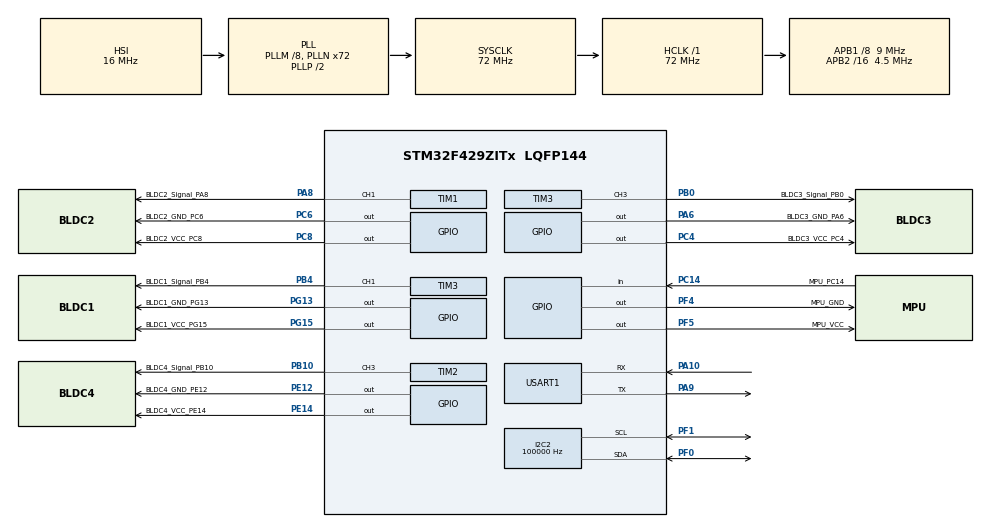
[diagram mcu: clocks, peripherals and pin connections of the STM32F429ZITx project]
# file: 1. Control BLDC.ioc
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Mcu.Family=STM32F4
RCC.CortexFreq_Value=72000000
TIM1.RepetitionCounter=0
PC6.GPIO_Label=BLDC2_GND_PC6
PA6.GPIO_Label=BLDC3_GND_PA6
PB0.GPIO_Label=BLDC3_Signal_PB0
PG13.Signal=GPIO_Output
PG15.Signal=GPIO_Output
RCC.SYSCLKSource=RCC_SYSCLKSOURCE_PLLCLK
ProjectManager.StackSize=0x400
TIM1.Prescaler=180-1
PG15.GPIO_Label=BLDC1_VCC_PG15
RCC.HCLKFreq_Value=72000000
RCC.APB2TimFreq_Value=9000000
TIM3.Period=1000-1
RCC.AHBFreq_Value=72000000
TIM3.Channel-PWM\ Generation1\ CH1=TIM_CHANNEL_1
RCC.HSE_VALUE=8000000
PC4.GPIO_Label=BLDC3_VCC_PC4
TIM1.Channel-PWM\ Generation1\ CH1=TIM_CHANNEL_1
PA14.Mode=Serial_Wire
TIM3.Prescaler=180-1
PA8.Signal=S_TIM1_CH1
SH.S_TIM3_CH1.0=TIM3_CH1,PWM Generation1 CH1
VP_FREERTOS_VS_CMSIS_V1.Mode=CMSIS_V1
Mcu.Package=LQFP144
TIM2.Prescaler=180-1
PA6.Signal=GPIO_Output
NVIC.TimeBase=TIM7_IRQn
PC14/OSC32_IN.Signal=GPIO_Input
PF5.GPIO_Label=MPU_VCC
NVIC.TimeBaseIP=TIM7
PA10.Signal=USART1_RX
FREERTOS.INCLUDE_vTaskDelayUntil=1
PE12.GPIO_Label=BLDC4_GND_PE12
RCC.PLLSAIN=50
PF5.Signal=GPIO_Output
RCC.APB2CLKDivider=RCC_HCLK_DIV16
RCC.APB1TimFreq_Value=18000000
PC14/OSC32_IN.GPIO_Label=MPU_PC14
PF0.Signal=I2C2_SDA
TIM1.Period=1000-1
NVIC.USART1_IRQn=true\:5\:0\:true\:false\:true\:true\:true\:true
I2C2.I2C_Mode=I2C_Standard
NVIC.TIM7_IRQn=true\:0\:0\:false\:false\:true\:false\:false\:true
PB4.Signal=S_TIM3_CH1
FREERTOS.Tasks01=systemTask,0,128,StartsytemTask,Default,NULL,Dynamic,NULL,NULL;BLDCTask,2,512,StartBLDCTask,Default,NULL,Dynamic,NULL,NULL;UARTTask,0,768,StartUARTTask,Default,NULL,Dynamic,NULL,NULL
PA10.Mode=Asynchronous
VP_SYS_VS_tim7.Mode=TIM7
PC8.Signal=GPIO_Output
PC4.Signal=GPIO_Output
PC6.Signal=GPIO_Output
PE14.GPIO_Label=BLDC4_VCC_PE14
RCC.APB1CLKDivider=RCC_HCLK_DIV8
SH.S_TIM3_CH3.0=TIM3_CH3,PWM Generation3 CH3
PG13.GPIO_Label=BLDC1_GND_PG13
PC8.GPIO_Label=BLDC2_VCC_PC8
PA13.Signal=SYS_JTMS-SWDIO
TIM3.Channel-PWM\ Generation3\ CH3=TIM_CHANNEL_3
PF1.Mode=I2C
PA9.Mode=Asynchronous
PA8.GPIO_Label=BLDC2_Signal_PA8
SH.S_TIM1_CH1.0=TIM1_CH1,PWM Generation1 CH1
ProjectManager.TargetToolchain=STM32CubeIDE
PB10.GPIO_Label=BLDC4_Signal_PB10
PA9.Signal=USART1_TX
RCC.LSE_VALUE=32768
PB10.Signal=S_TIM2_CH3
board=STM32F429I-DISC1
RCC.VCOOutputFreq_Value=144000000
RCC.APB2Freq_Value=4500000
PE14.Signal=GPIO_Output
PB4.GPIO_Label=BLDC1_Signal_PB4
SH.S_TIM2_CH3.0=TIM2_CH3,PWM Generation3 CH3
PF4.GPIO_Label=MPU_GND
I2C2.ClockSpeed=100000
TIM2.Channel-PWM\ Generation3\ CH3=TIM_CHANNEL_3
TIM2.Period=1000-1
PF1.Signal=I2C2_SCL
PA13.Mode=Serial_Wire
Mcu.Name=STM32F429ZITx
PE12.Signal=GPIO_Output
RCC.48MHZClocksFreq_Value=48000000
RCC.SYSCLKFreq_VALUE=72000000
USART1.VirtualMode=VM_ASYNC
PA14.Signal=SYS_JTCK-SWCLK
ProjectManager.HeapSize=0x200
PF0.Mode=I2C
RCC.HSI_VALUE=16000000
FREERTOS.Mutexes01=mutex_uart,Dynamic,NULL;mutex_malloc,Dynamic,NULL;mutex_i2c2,Dynamic,NULL
RCC.PLLQ=3
NVIC.PriorityGroup=NVIC_PRIORITYGROUP_4
RCC.PLLM=8
RCC.PLLN=72
PF4.Signal=GPIO_Output
RCC.APB1Freq_Value=9000000
PB0.Signal=S_TIM3_CH3

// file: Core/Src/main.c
/* USER CODE BEGIN Header */
/**
  ******************************************************************************
  * @file           : main.c
  * @brief          : Main program body
  ******************************************************************************
  * @attention
  *
  * <h2><center>&copy; Copyright (c) 2025 STMicroelectronics.
  * All rights reserved.</center></h2>
  *
  * This software component is licensed by ST under Ultimate Liberty license
  * SLA0044, the "License"; You may not use this file except in compliance with
  * the License. You may obtain a copy of the License at:
  *                             www.st.com/SLA0044
  *
  ******************************************************************************
  */
/*
 * ===========================================================================
 * OVERVIEW (main.c)
 * ===========================================================================
 *  Generated by STM32CubeMX: only the text between "USER CODE BEGIN" and
 *  "USER CODE END" survives a regeneration, so all project code lives there.
 *
 *  Boot order:
 *    HAL_Init -> SystemClock_Config (72 MHz from HSI; the GAMEPAD build then
 *    moves the PLL to the 8 MHz HSE for USB) -> MX_*_Init (GPIO, TIM1/2/3 for
 *    the ESCs, USART1 terminal, I2C2 for the MPU6050) -> mutexes -> tasks
 *    created -> Sys_Init() (runs before the scheduler, blocks ~3 s for the
 *    ESC arming pulse) -> osKernelStart().
 *
 *  FreeRTOS tasks:
 *    BLDCTask   (High)        : Sys_FlightTask(), 250 Hz flight loop
 *    usbTask    (AboveNormal) : GAMEPAD build only, USB host for the pad
 *    UARTTask   (Normal)      : terminal commands + telemetry every 50 ms
 *    systemTask (Normal)      : status LED (PG14) every 100 ms
 *    uiTask     (BelowNormal) : LCD screen, 10 Hz (if UI_LCD_ENABLE)
 *  Higher priority always runs first, so the flight loop is never delayed by
 *  printing or drawing.
 */
/* USER CODE END Header */
#include "main.h"
#include "cmsis_os.h"

I2C_HandleTypeDef hi2c2;

TIM_HandleTypeDef htim1;
TIM_HandleTypeDef htim2;
TIM_HandleTypeDef htim3;

UART_HandleTypeDef huart1;

osThreadId systemTaskHandle;
osThreadId BLDCTaskHandle;
osThreadId UARTTaskHandle;
osMutexId mutex_uartHandle;
osMutexId mutex_mallocHandle;
osMutexId mutex_i2c2Handle;
/* USER CODE BEGIN PV */
/* Table of UART handles / mutexes indexed by port number, used by the UART
 * driver (USER_UART_Driver) so it does not depend on CubeMX variable names. */
UART_HandleTypeDef *puartHandle[5];

osMutexId mutex_uart_user[5];
osMutexId mutex_malloc_user;
osMutexId mutex_i2c2_user;
/*User variable*/
/* bRTOS_En : true once the tasks exist -> printing may use the mutexes.
 * bPrintfEn: false = RTOSprintf prints nothing (before UART is ready). */
bool bRTOS_En = false;
bool bPrintfEn = false;

/* USER CODE END PV */

void SystemClock_Config(void);
static void MX_GPIO_Init(void);
static void MX_TIM1_Init(void);
static void MX_TIM2_Init(void);
static void MX_TIM3_Init(void);
static void MX_USART1_UART_Init(void);
static void MX_I2C2_Init(void);
void StartsytemTask(void const * argument);
void StartBLDCTask(void const * argument);
void StartUARTTask(void const * argument);

/* USER CODE BEGIN PFP */
/* Old printf retarget prototype (the function itself is commented out in
 * USER CODE 4; _write() is used instead). */
#ifdef __GNUC__
#define PUTCHAR_PROTOTYPE int __io_putchar(int ch)
#else
#define PUTCHAR_PROTOTYPE int fputc(int ch, FILE *f)
#endif /* __GNUC__ */
/* USER CODE END PFP */

int main(void)
{

  /* MCU Configuration--------------------------------------------------------*/

  /* Reset of all peripherals, Initializes the Flash interface and the Systick. */
  HAL_Init();

  /* Configure the system clock */
  SystemClock_Config();

  /* USER CODE BEGIN SysInit */
#if (FC_VARIANT == FC_VARIANT_GAMEPAD)
  /* USB host needs an accurate 48 MHz clock: move the PLL to HSE (8 MHz).
   * Bus clocks stay identical (72 MHz, APB1 /8, APB2 /16). */
  (void)Gamepad_ClockInit();
#endif

  /* USER CODE END SysInit */

  /* Initialize all configured peripherals */
  MX_GPIO_Init();
  MX_TIM1_Init();
  MX_TIM2_Init();
  MX_TIM3_Init();
  MX_USART1_UART_Init();
  MX_I2C2_Init();
  /* USER CODE BEGIN 2 */
  /* MX_GPIO_Init() made the old ESC "VCC" pins outputs LOW; release them at
   * once (high impedance) so an ESC +5 V wire cannot be shorted / back-fed. */
  Motor_ReleaseVccPins();

  /* Register USART1 (terminal, PA9/PA10, 115200) as port 1 for the driver */
  puartHandle[UART_PORT1] = &huart1;
  /* USER CODE END 2 */

  /* Create the mutex(es) */
  /* definition and creation of mutex_uart */
  osMutexDef(mutex_uart);
  mutex_uartHandle = osMutexCreate(osMutex(mutex_uart));

  /* definition and creation of mutex_malloc */
  osMutexDef(mutex_malloc);
  mutex_mallocHandle = osMutexCreate(osMutex(mutex_malloc));

  /* definition and creation of mutex_i2c2 */
  osMutexDef(mutex_i2c2);
  mutex_i2c2Handle = osMutexCreate(osMutex(mutex_i2c2));

  /* USER CODE BEGIN RTOS_MUTEX */
  /* add mutexes, ... */
  /* Copy the CubeMX mutex handles to the names the user drivers use:
   * UART (several tasks print), malloc, I2C2 (MPU6050 bus) */
  mutex_uart_user[SET_COMPORT_DEF] = mutex_uartHandle;
  mutex_malloc_user = mutex_mallocHandle;
  mutex_i2c2_user = mutex_i2c2Handle;
  /* USER CODE END RTOS_MUTEX */

  /* Create the thread(s) */
  /* definition and creation of systemTask */
  osThreadDef(systemTask, StartsytemTask, osPriorityNormal, 0, 128);
  systemTaskHandle = osThreadCreate(osThread(systemTask), NULL);

  /* definition and creation of BLDCTask */
  osThreadDef(BLDCTask, StartBLDCTask, osPriorityHigh, 0, 512);
  BLDCTaskHandle = osThreadCreate(osThread(BLDCTask), NULL);

  /* definition and creation of UARTTask */
  osThreadDef(UARTTask, StartUARTTask, osPriorityNormal, 0, 768);
  UARTTaskHandle = osThreadCreate(osThread(UARTTask), NULL);

  /* USER CODE BEGIN RTOS_THREADS */
  bPrintfEn = true;   /* allow init logs (no mutex yet: bRTOS_En is false) */

  /* Init UART, RC, motors (3 s ESC arming pulse), MPU6050, PIDs.
   * The tasks above already exist but do not run until osKernelStart(). */
  Sys_Init();

#if (FC_VARIANT == FC_VARIANT_GAMEPAD)
  /* USB host (gamepad on CN6). AboveNormal: must not starve behind the
   * terminal, still below the flight loop (High). */
  osThreadDef(usbTask, Gamepad_Task, osPriorityAboveNormal, 0, USB_TASK_STACK_WORDS);
  osThreadCreate(osThread(usbTask), NULL);
#endif

#if (UI_LCD_ENABLE == 1)
  /* LCD status screen: lowest application priority, never delays the
   * flight loop (High) or the terminal (Normal). */
  osThreadDef(uiTask, UI_Task, osPriorityBelowNormal, 0, UI_TASK_STACK_WORDS);
  osThreadCreate(osThread(uiTask), NULL);
#endif

  /* From here on printing goes through the mutexes */
  bRTOS_En = true;
  HAL_UART_Transmit(puartHandle[SET_COMPORT_DEF], (uint8_t *)"ENTER FREERTOS\r\n", strlen("ENTER FREERTOS\r\n"), 0xFFFF);
  /* add threads, ... */
  /* USER CODE END RTOS_THREADS */

  /* Start scheduler */
  osKernelStart();

  /* We should never get here as control is now taken by the scheduler */
  /* Infinite loop */
  while (1)
  {

  }
}

void SystemClock_Config(void)
{
  RCC_OscInitTypeDef RCC_OscInitStruct = {0};
  RCC_ClkInitTypeDef RCC_ClkInitStruct = {0};

  /** Configure the main internal regulator output voltage
  */
  __HAL_RCC_PWR_CLK_ENABLE();
  __HAL_PWR_VOLTAGESCALING_CONFIG(PWR_REGULATOR_VOLTAGE_SCALE3);
  /** Initializes the RCC Oscillators according to the specified parameters
  * in the RCC_OscInitTypeDef structure.
  */
  RCC_OscInitStruct.OscillatorType = RCC_OSCILLATORTYPE_HSI;
  RCC_OscInitStruct.HSIState = RCC_HSI_ON;
  RCC_OscInitStruct.HSICalibrationValue = RCC_HSICALIBRATION_DEFAULT;
  RCC_OscInitStruct.PLL.PLLState = RCC_PLL_ON;
  RCC_OscInitStruct.PLL.PLLSource = RCC_PLLSOURCE_HSI;
  RCC_OscInitStruct.PLL.PLLM = 8;
  RCC_OscInitStruct.PLL.PLLN = 72;
  RCC_OscInitStruct.PLL.PLLP = RCC_PLLP_DIV2;
  RCC_OscInitStruct.PLL.PLLQ = 3;
  if (HAL_RCC_OscConfig(&RCC_OscInitStruct) != HAL_OK)
  {
    Error_Handler();
  }
  /** Initializes the CPU, AHB and APB buses clocks
  */
  RCC_ClkInitStruct.ClockType = RCC_CLOCKTYPE_HCLK|RCC_CLOCKTYPE_SYSCLK
                              |RCC_CLOCKTYPE_PCLK1|RCC_CLOCKTYPE_PCLK2;
  RCC_ClkInitStruct.SYSCLKSource = RCC_SYSCLKSOURCE_PLLCLK;
  RCC_ClkInitStruct.AHBCLKDivider = RCC_SYSCLK_DIV1;
  RCC_ClkInitStruct.APB1CLKDivider = RCC_HCLK_DIV8;
  RCC_ClkInitStruct.APB2CLKDivider = RCC_HCLK_DIV16;

  if (HAL_RCC_ClockConfig(&RCC_ClkInitStruct, FLASH_LATENCY_2) != HAL_OK)
  {
    Error_Handler();
  }
}

static void MX_I2C2_Init(void)
{

  hi2c2.Instance = I2C2;
  hi2c2.Init.ClockSpeed = 100000;
  hi2c2.Init.DutyCycle = I2C_DUTYCYCLE_2;
  hi2c2.Init.OwnAddress1 = 0;
  hi2c2.Init.AddressingMode = I2C_ADDRESSINGMODE_7BIT;
  hi2c2.Init.DualAddressMode = I2C_DUALADDRESS_DISABLE;
  hi2c2.Init.OwnAddress2 = 0;
  hi2c2.Init.GeneralCallMode = I2C_GENERALCALL_DISABLE;
  hi2c2.Init.NoStretchMode = I2C_NOSTRETCH_DISABLE;
  if (HAL_I2C_Init(&hi2c2) != HAL_OK)
  {
    Error_Handler();
  }
  /** Configure Analogue filter
  */
  if (HAL_I2CEx_ConfigAnalogFilter(&hi2c2, I2C_ANALOGFILTER_ENABLE) != HAL_OK)
  {
    Error_Handler();
  }
  /** Configure Digital filter
  */
  if (HAL_I2CEx_ConfigDigitalFilter(&hi2c2, 0) != HAL_OK)
  {
    Error_Handler();
  }

}

static void MX_TIM1_Init(void)
{

  TIM_MasterConfigTypeDef sMasterConfig = {0};
  TIM_OC_InitTypeDef sConfigOC = {0};
  TIM_BreakDeadTimeConfigTypeDef sBreakDeadTimeConfig = {0};

  htim1.Instance = TIM1;
  htim1.Init.Prescaler = 180-1;
  htim1.Init.CounterMode = TIM_COUNTERMODE_UP;
  htim1.Init.Period = 1000-1;
  htim1.Init.ClockDivision = TIM_CLOCKDIVISION_DIV1;
  htim1.Init.RepetitionCounter = 0;
  htim1.Init.AutoReloadPreload = TIM_AUTORELOAD_PRELOAD_DISABLE;
  if (HAL_TIM_PWM_Init(&htim1) != HAL_OK)
  {
    Error_Handler();
  }
  sMasterConfig.MasterOutputTrigger = TIM_TRGO_RESET;
  sMasterConfig.MasterSlaveMode = TIM_MASTERSLAVEMODE_DISABLE;
  if (HAL_TIMEx_MasterConfigSynchronization(&htim1, &sMasterConfig) != HAL_OK)
  {
    Error_Handler();
  }
  sConfigOC.OCMode = TIM_OCMODE_PWM1;
  sConfigOC.Pulse = 0;
  sConfigOC.OCPolarity = TIM_OCPOLARITY_HIGH;
  sConfigOC.OCNPolarity = TIM_OCNPOLARITY_HIGH;
  sConfigOC.OCFastMode = TIM_OCFAST_DISABLE;
  sConfigOC.OCIdleState = TIM_OCIDLESTATE_RESET;
  sConfigOC.OCNIdleState = TIM_OCNIDLESTATE_RESET;
  if (HAL_TIM_PWM_ConfigChannel(&htim1, &sConfigOC, TIM_CHANNEL_1) != HAL_OK)
  {
    Error_Handler();
  }
  sBreakDeadTimeConfig.OffStateRunMode = TIM_OSSR_DISABLE;
  sBreakDeadTimeConfig.OffStateIDLEMode = TIM_OSSI_DISABLE;
  sBreakDeadTimeConfig.LockLevel = TIM_LOCKLEVEL_OFF;
  sBreakDeadTimeConfig.DeadTime = 0;
  sBreakDeadTimeConfig.BreakState = TIM_BREAK_DISABLE;
  sBreakDeadTimeConfig.BreakPolarity = TIM_BREAKPOLARITY_HIGH;
  sBreakDeadTimeConfig.AutomaticOutput = TIM_AUTOMATICOUTPUT_DISABLE;
  if (HAL_TIMEx_ConfigBreakDeadTime(&htim1, &sBreakDeadTimeConfig) != HAL_OK)
  {
    Error_Handler();
  }
  HAL_TIM_MspPostInit(&htim1);

}

static void MX_TIM2_Init(void)
{

  TIM_MasterConfigTypeDef sMasterConfig = {0};
  TIM_OC_InitTypeDef sConfigOC = {0};

  htim2.Instance = TIM2;
  htim2.Init.Prescaler = 180-1;
  htim2.Init.CounterMode = TIM_COUNTERMODE_UP;
  htim2.Init.Period = 1000-1;
  htim2.Init.ClockDivision = TIM_CLOCKDIVISION_DIV1;
  htim2.Init.AutoReloadPreload = TIM_AUTORELOAD_PRELOAD_DISABLE;
  if (HAL_TIM_PWM_Init(&htim2) != HAL_OK)
  {
    Error_Handler();
  }
  sMasterConfig.MasterOutputTrigger = TIM_TRGO_RESET;
  sMasterConfig.MasterSlaveMode = TIM_MASTERSLAVEMODE_DISABLE;
  if (HAL_TIMEx_MasterConfigSynchronization(&htim2, &sMasterConfig) != HAL_OK)
  {
    Error_Handler();
  }
  sConfigOC.OCMode = TIM_OCMODE_PWM1;
  sConfigOC.Pulse = 0;
  sConfigOC.OCPolarity = TIM_OCPOLARITY_HIGH;
  sConfigOC.OCFastMode = TIM_OCFAST_DISABLE;
  if (HAL_TIM_PWM_ConfigChannel(&htim2, &sConfigOC, TIM_CHANNEL_3) != HAL_OK)
  {
    Error_Handler();
  }
  HAL_TIM_MspPostInit(&htim2);

}

static void MX_TIM3_Init(void)
{

  TIM_MasterConfigTypeDef sMasterConfig = {0};
  TIM_OC_InitTypeDef sConfigOC = {0};

  htim3.Instance = TIM3;
  htim3.Init.Prescaler = 180-1;
  htim3.Init.CounterMode = TIM_COUNTERMODE_UP;
  htim3.Init.Period = 1000-1;
  htim3.Init.ClockDivision = TIM_CLOCKDIVISION_DIV1;
  htim3.Init.AutoReloadPreload = TIM_AUTORELOAD_PRELOAD_DISABLE;
  if (HAL_TIM_PWM_Init(&htim3) != HAL_OK)
  {
    Error_Handler();
  }
  sMasterConfig.MasterOutputTrigger = TIM_TRGO_RESET;
  sMasterConfig.MasterSlaveMode = TIM_MASTERSLAVEMODE_DISABLE;
  if (HAL_TIMEx_MasterConfigSynchronization(&htim3, &sMasterConfig) != HAL_OK)
  {
    Error_Handler();
  }
  sConfigOC.OCMode = TIM_OCMODE_PWM1;
  sConfigOC.Pulse = 0;
  sConfigOC.OCPolarity = TIM_OCPOLARITY_HIGH;
  sConfigOC.OCFastMode = TIM_OCFAST_DISABLE;
  if (HAL_TIM_PWM_ConfigChannel(&htim3, &sConfigOC, TIM_CHANNEL_1) != HAL_OK)
  {
    Error_Handler();
  }
  if (HAL_TIM_PWM_ConfigChannel(&htim3, &sConfigOC, TIM_CHANNEL_3) != HAL_OK)
  {
    Error_Handler();
  }
  HAL_TIM_MspPostInit(&htim3);

}

static void MX_USART1_UART_Init(void)
{

  huart1.Instance = USART1;
  huart1.Init.BaudRate = 115200;
  huart1.Init.WordLength = UART_WORDLENGTH_8B;
  huart1.Init.StopBits = UART_STOPBITS_1;
  huart1.Init.Parity = UART_PARITY_NONE;
  huart1.Init.Mode = UART_MODE_TX_RX;
  huart1.Init.HwFlowCtl = UART_HWCONTROL_NONE;
  huart1.Init.OverSampling = UART_OVERSAMPLING_16;
  if (HAL_UART_Init(&huart1) != HAL_OK)
  {
    Error_Handler();
  }

}

static void MX_GPIO_Init(void)
{
  GPIO_InitTypeDef GPIO_InitStruct = {0};

  /* GPIO Ports Clock Enable */
  __HAL_RCC_GPIOC_CLK_ENABLE();
  __HAL_RCC_GPIOF_CLK_ENABLE();
  __HAL_RCC_GPIOA_CLK_ENABLE();
  __HAL_RCC_GPIOB_CLK_ENABLE();
  __HAL_RCC_GPIOE_CLK_ENABLE();
  __HAL_RCC_GPIOG_CLK_ENABLE();

  /*Configure GPIO pin Output Level */
  HAL_GPIO_WritePin(GPIOF, MPU_GND_Pin|MPU_VCC_Pin, GPIO_PIN_RESET);

  /*Configure GPIO pin Output Level */
  HAL_GPIO_WritePin(BLDC3_GND_PA6_GPIO_Port, BLDC3_GND_PA6_Pin, GPIO_PIN_RESET);

  /*Configure GPIO pin Output Level */
  HAL_GPIO_WritePin(GPIOC, BLDC3_VCC_PC4_Pin|BLDC2_GND_PC6_Pin|BLDC2_VCC_PC8_Pin, GPIO_PIN_RESET);

  /*Configure GPIO pin Output Level */
  HAL_GPIO_WritePin(GPIOE, BLDC4_GND_PE12_Pin|BLDC4_VCC_PE14_Pin, GPIO_PIN_RESET);

  /*Configure GPIO pin Output Level */
  HAL_GPIO_WritePin(GPIOG, BLDC1_GND_PG13_Pin|BLDC1_VCC_PG15_Pin, GPIO_PIN_RESET);

  /*Configure GPIO pin : MPU_PC14_Pin */
  GPIO_InitStruct.Pin = MPU_PC14_Pin;
  GPIO_InitStruct.Mode = GPIO_MODE_INPUT;
  GPIO_InitStruct.Pull = GPIO_NOPULL;
  HAL_GPIO_Init(MPU_PC14_GPIO_Port, &GPIO_InitStruct);

  /*Configure GPIO pins : MPU_GND_Pin MPU_VCC_Pin */
  GPIO_InitStruct.Pin = MPU_GND_Pin|MPU_VCC_Pin;
  GPIO_InitStruct.Mode = GPIO_MODE_OUTPUT_PP;
  GPIO_InitStruct.Pull = GPIO_NOPULL;
  GPIO_InitStruct.Speed = GPIO_SPEED_FREQ_LOW;
  HAL_GPIO_Init(GPIOF, &GPIO_InitStruct);

  /*Configure GPIO pin : BLDC3_GND_PA6_Pin */
  GPIO_InitStruct.Pin = BLDC3_GND_PA6_Pin;
  GPIO_InitStruct.Mode = GPIO_MODE_OUTPUT_PP;
  GPIO_InitStruct.Pull = GPIO_NOPULL;
  GPIO_InitStruct.Speed = GPIO_SPEED_FREQ_LOW;
  HAL_GPIO_Init(BLDC3_GND_PA6_GPIO_Port, &GPIO_InitStruct);

  /*Configure GPIO pins : BLDC3_VCC_PC4_Pin BLDC2_GND_PC6_Pin BLDC2_VCC_PC8_Pin */
  GPIO_InitStruct.Pin = BLDC3_VCC_PC4_Pin|BLDC2_GND_PC6_Pin|BLDC2_VCC_PC8_Pin;
  GPIO_InitStruct.Mode = GPIO_MODE_OUTPUT_PP;
  GPIO_InitStruct.Pull = GPIO_NOPULL;
  GPIO_InitStruct.Speed = GPIO_SPEED_FREQ_LOW;
  HAL_GPIO_Init(GPIOC, &GPIO_InitStruct);

  /*Configure GPIO pins : BLDC4_GND_PE12_Pin BLDC4_VCC_PE14_Pin */
  GPIO_InitStruct.Pin = BLDC4_GND_PE12_Pin|BLDC4_VCC_PE14_Pin;
  GPIO_InitStruct.Mode = GPIO_MODE_OUTPUT_PP;
  GPIO_InitStruct.Pull = GPIO_NOPULL;
  GPIO_InitStruct.Speed = GPIO_SPEED_FREQ_LOW;
  HAL_GPIO_Init(GPIOE, &GPIO_InitStruct);

  /*Configure GPIO pins : BLDC1_GND_PG13_Pin BLDC1_VCC_PG15_Pin */
  GPIO_InitStruct.Pin = BLDC1_GND_PG13_Pin|BLDC1_VCC_PG15_Pin;
  GPIO_InitStruct.Mode = GPIO_MODE_OUTPUT_PP;
  GPIO_InitStruct.Pull = GPIO_NOPULL;
  GPIO_InitStruct.Speed = GPIO_SPEED_FREQ_LOW;
  HAL_GPIO_Init(GPIOG, &GPIO_InitStruct);

}

/* USER CODE BEGIN 4 */
/**
 * @brief  Retargets the C library printf function to the USART.
 * @param  None
 * @retval None
 */
//PUTCHAR_PROTOTYPE
//{
//	HAL_UART_Transmit(puartHandle[SET_COMPORT_DEF], (uint8_t *)&ch, 1, 0xFFFF);
//
//    return ch;
//}
/* newlib calls _write() for printf(): send the bytes to the terminal UART
 * (blocking until sent). */
int _write(int file, char *ptr, int len)
{
    if (puartHandle[SET_COMPORT_DEF] == NULL)
    {
        return -1;  // Prevent crash if UART is uninitialized
    }

    HAL_UART_Transmit(puartHandle[SET_COMPORT_DEF], (uint8_t *)ptr, len, HAL_MAX_DELAY);
    return len;
}

#if defined(__ARMCC_VERSION)
/* Keil armclang build (tools/keil/build_keil.sh, microlib): the Arm C library
 * prints through fputc() instead of newlib's _write(). Same blocking UART. */
int fputc(int ch, FILE *f)
{
    uint8_t c = (uint8_t)ch;

    (void)f;
    if (puartHandle[SET_COMPORT_DEF] == NULL)
        return -1;
    HAL_UART_Transmit(puartHandle[SET_COMPORT_DEF], &c, 1, HAL_MAX_DELAY);
    return ch;
}
#endif
/* USER CODE END 4 */

void StartsytemTask(void const * argument)
{
  /* USER CODE BEGIN 5 */
  /* Status LED: red LED LD4 on PG14 (PG13/green is used as BLDC1_GND).
   *   CALIBRATING : fast blink   DISARMED : slow blink
   *   ARMED       : solid ON     FAILSAFE : double blink */
  GPIO_InitTypeDef led = {0};
  uint32_t step = 0;
  GPIO_PinState on;

  __HAL_RCC_GPIOG_CLK_ENABLE();
  led.Pin = GPIO_PIN_14;
  led.Mode = GPIO_MODE_OUTPUT_PP;
  led.Pull = GPIO_NOPULL;
  led.Speed = GPIO_SPEED_FREQ_LOW;
  HAL_GPIO_Init(GPIOG, &led);

  /* Infinite loop */
  /* One step = 100 ms. Fast blink: on/off every step (5 Hz).
   * Slow blink: 500 ms on, 500 ms off. Double blink: on at steps 0 and 2
   * of every 1 s period. */
  for(;;)
  {
    switch (Sys_GetStatus()->state)
    {
    case FC_STATE_CALIBRATING: on = (step % 2U) ? GPIO_PIN_SET : GPIO_PIN_RESET;        break;
    case FC_STATE_ARMED:       on = GPIO_PIN_SET;                                       break;
    case FC_STATE_FAILSAFE:    on = ((step % 10U) == 0U || (step % 10U) == 2U) ? GPIO_PIN_SET : GPIO_PIN_RESET; break;
    case FC_STATE_DISARMED:
    default:                   on = ((step % 10U) < 5U) ? GPIO_PIN_SET : GPIO_PIN_RESET; break;
    }
    HAL_GPIO_WritePin(GPIOG, GPIO_PIN_14, on);
    step++;
    osDelay(100);
  }
  /* USER CODE END 5 */
}

void StartBLDCTask(void const * argument)
{
  /* USER CODE BEGIN StartBLDCTask */
  /* Flight control loop (IMU -> attitude -> PID -> mixer -> ESC), never returns */
  Sys_FlightTask(argument);
  /* USER CODE END StartBLDCTask */
}

void StartUARTTask(void const * argument)
{
  /* USER CODE BEGIN StartUARTTask */
  /* Infinite loop */
  uint32_t u32TickCnt = 0;

  RTOSprintf("\r\n> QuadCopter FC ready. Send @QC+HELP for commands.");
  /* Every 10 ms: parse received @QC+ commands, log gamepad events;
   * every TELEMETRY_PERIOD_MS (50 ms = 20 Hz): print the telemetry line. */
  for(;;)
  {
    UART_TerminalProc();
    Debug_PadEvents();          /* GAMEPAD build: print button / stick changes */
    if ((HAL_GetTick() - u32TickCnt) >= TELEMETRY_PERIOD_MS)
    {
        u32TickCnt = HAL_GetTick();

        Debug_Proc();
    }
    osDelay(10);
  }
  /* USER CODE END StartUARTTask */
}

 /**
  * @brief  Period elapsed callback in non blocking mode
  * @note   This function is called  when TIM7 interrupt took place, inside
  * HAL_TIM_IRQHandler(). It makes a direct call to HAL_IncTick() to increment
  * a global variable "uwTick" used as application time base.
  * @param  htim : TIM handle
  * @retval None
  */
void HAL_TIM_PeriodElapsedCallback(TIM_HandleTypeDef *htim)
{
  if (htim->Instance == TIM7) {
    HAL_IncTick();
  }
}

void Error_Handler(void)
{
  __disable_irq();
  while (1)
  {
  }
}

/************************ (C) COPYRIGHT STMicroelectronics *****END OF FILE****/
